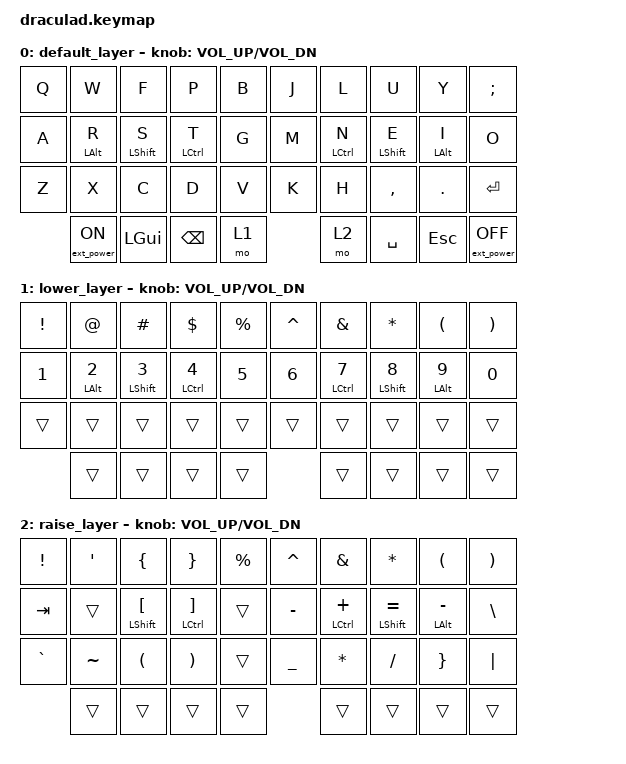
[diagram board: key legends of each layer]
#include <behaviors.dtsi>
#include <dt-bindings/zmk/keys.h>
#include <dt-bindings/zmk/bt.h>
#include <dt-bindings/zmk/ext_power.h>
/ {

        behaviors {
        hm: homerow_mod {
            compatible = "zmk,behavior-hold-tap";
            label = "HOMEROW_MOD";
            #binding-cells = <2>;
            tapping-term-ms = <250>;
            quick-tap-ms = <150>;
            flavor = "balanced";
            bindings = <&kp>, <&kp>;
        };
        };
        keymap {
                compatible = "zmk,keymap";

                default_layer {
// -----------------------------------------------------------------------------------------
// |  TAB |  Q  |  W  |  E  |  R  |  T  |   |  Y  |  U   |  I  |  O  |  P  | BKSP |
// | CTRL |  A  |  S  |  D  |  F  |  G  |   |  H  |  J   |  K  |  L  |  ;  |  '   |
// | SHFT |  Z  |  X  |  C  |  V  |  B  |   |  N  |  M   |  ,  |  .  |  /  | ESC  |
//                    | GUI | LWR | SPC |   | ENT | RSE  | ALT |
                        bindings = <
 &kp Q &kp W      &kp F    &kp P    &kp B   &kp J &kp L      &kp U     &kp Y   &kp SEMI    
 &kp A &hm LALT R      &hm LSHFT S    &hm LCTRL T    &kp G   &kp M &hm LCTRL N      &hm LSHFT E     &hm LALT I   &kp O 
 &kp Z &kp X      &kp C    &kp D    &kp V   &kp K &kp H      &kp COMMA &kp DOT &kp RET 
       &ext_power EP_ON &kp LGUI &kp BSPC &mo 1   &mo 2 &kp SPACE  &kp ESC   &ext_power EP_OFF
                        >;
                        sensor-bindings = <&inc_dec_kp C_VOL_UP C_VOL_DN>;

                };
                lower_layer {
// -----------------------------------------------------------------------------------------
// |  TAB |  1  |  2  |  3  |  4  |  5  |   |  6  |  7  |  8  |  9  |  0  | BKSP |
// | BTCLR| BT1 | BT2 | BT3 | BT4 | BT5 |   | LFT | DWN |  UP | RGT |     |      |
// | SHFT |     |     |     |     |     |   |     |     |     |     |     |      |
//                    | GUI |     | SPC |   | ENT |     | ALT |
                        bindings = <
&kp EXCL &kp AT &kp HASH &kp DLLR &kp PRCNT   &kp CARET &kp AMPS  &kp ASTRK &kp LPAR &kp RPAR 
&kp N1   &hm LALT N2 &hm LSHFT N3 &hm LCTRL N4 &kp N5      &kp N6   &hm LCTRL N7    &hm LSHFT N8    &hm LALT N9   &kp N0 
&trans  &trans  &trans  &trans  &trans       &trans    &trans    &trans    &trans   &trans 
         &trans &trans   &trans   &trans      &trans    &trans    &trans  &trans
                        >;
                        sensor-bindings = <&inc_dec_kp C_VOL_UP C_VOL_DN>;
                };

                raise_layer {
// -----------------------------------------------------------------------------------------
// |  TAB |  !  |  @  |  #  |  $  |  %  |   |  ^  |  &  |  *  |  (  |  )  | BKSP |
// | CTRL |     |     |     |     |     |   |  -  |  =  |  [  |  ]  |  \  |  `   |
// | SHFT |     |     |     |     |     |   |  _  |  +  |  {  |  }  | "|" |  ~   |
//                    | GUI |     | SPC |   | ENT |     | ALT |
                        bindings = <
&kp EXCL &kp SQT &kp LBRC   &kp RBRC   &kp PRCNT   &kp CARET &kp AMPS  &kp ASTRK &kp LPAR  &kp RPAR 
&kp TAB   &trans &hm LSHFT LBKT   &hm LCTRL RBKT   &trans      &kp MINUS &hm LCTRL PLUS  &hm LSHFT EQUAL &hm LALT MINUS &kp BSLH 
&kp GRAVE   &kp TILDE &kp LPAR  &kp RPAR   &trans      &kp UNDER &kp ASTRK &kp FSLH  &kp RBRC  &kp PIPE
         &trans &trans     &trans     &trans      &trans    &trans    &trans    &trans
                        >;
                        sensor-bindings = <&inc_dec_kp C_VOL_UP C_VOL_DN>;
                };
        };
};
